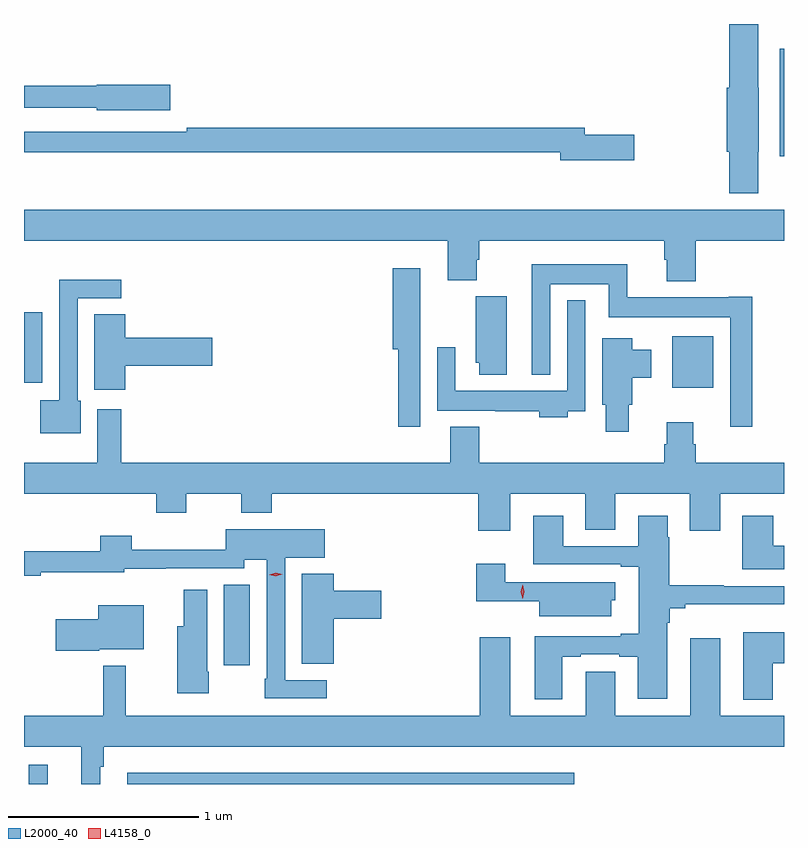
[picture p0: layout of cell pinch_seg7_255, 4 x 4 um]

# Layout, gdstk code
import gdstk
lib = gdstk.Library(unit=1e-6, precision=1e-09)
def R(c, l, rs):  # rectangles x0, y0, x1, y1
    for r in rs: c.add(gdstk.rectangle(r[:2], r[2:], *l))
def P(c, l, *ps):  # polygons
    for p in ps: c.add(gdstk.Polygon(p, *l))
L2000_40 = (2000, 40)
L4158_0 = (4158, 0)

pinch_seg7_255 = lib.new_cell('pinch_seg7_255')
R(pinch_seg7_255, L2000_40, [(802.796,1065.689,802.895,1065.79), (803.313,1065.689,805.667,1065.748), (803.822,1066.314,803.959,1066.739), (806.183,1067.774,806.398,1068.046), (802.77,1067.802,802.867,1068.172), (806.747,1068.993,806.77,1069.56)])
P(pinch_seg7_255, L2000_40, [(806.635,1069.017),(806.638,1069.017),(806.638,1069.353),(806.635,1069.353),(806.635,1069.689),(806.483,1069.689),(806.483,1069.353),(806.468,1069.353),(806.468,1069.017),(806.483,1069.017),(806.483,1068.797),(806.635,1068.797)],
  [(803.539,1069.37),(803.154,1069.37),(803.154,1069.364),(802.77,1069.364),(802.77,1069.248),(803.154,1069.248),(803.154,1069.235),(803.539,1069.235)],
  [(805.981,1069.106),(805.72,1069.106),(805.72,1069.142),(803.626,1069.142),(803.626,1069.122),(802.77,1069.122),(802.77,1069.014),(805.592,1069.014),(805.592,1068.971),(805.981,1068.971)],
  [(806.306,1068.548),(806.77,1068.548),(806.77,1068.712),(802.77,1068.712),(802.77,1068.548),(805.001,1068.548),(805.001,1068.34),(805.153,1068.34),(805.153,1068.449),(805.166,1068.449),(805.166,1068.548),(806.141,1068.548),(806.141,1068.447),(806.153,1068.447),(806.153,1068.335),(806.306,1068.335)],
  [(806.603,1068.253),(806.48,1068.253),(806.48,1068.25),(805.946,1068.25),(805.946,1068.424),(805.442,1068.424),(805.442,1067.843),(805.539,1067.843),(805.539,1068.32),(805.848,1068.32),(805.848,1068.146),(806.487,1068.146),(806.487,1067.568),(806.603,1067.568)],
  [(804.855,1068.082),(804.856,1068.082),(804.856,1068.403),(804.71,1068.403),(804.71,1067.978),(804.739,1067.978),(804.739,1067.568),(804.855,1067.568)],
  [(803.068,1067.706),(803.052,1067.706),(803.052,1068.246),(803.281,1068.246),(803.281,1068.344),(802.956,1068.344),(802.956,1067.71),(802.856,1067.71),(802.856,1067.534),(803.068,1067.534)],
  [(805.312,1068.255),(805.148,1068.255),(805.148,1067.907),(805.166,1067.907),(805.166,1067.844),(805.312,1067.844)],
  [(805.633,1067.652),(805.725,1067.652),(805.725,1068.235),(805.629,1068.235),(805.629,1067.758),(805.041,1067.758),(805.041,1067.989),(804.945,1067.989),(804.945,1067.654),(805.249,1067.654),(805.249,1067.652),(805.481,1067.652),(805.481,1067.618),(805.633,1067.618)],
  [(803.303,1067.891),(803.761,1067.891),(803.761,1068.038),(803.303,1068.038),(803.303,1068.161),(803.141,1068.161),(803.141,1067.763),(803.303,1067.763)],
  [(805.954,1067.685),(805.972,1067.685),(805.972,1067.827),(806.071,1067.827),(806.071,1067.974),(805.972,1067.974),(805.972,1068.034),(805.814,1068.034),(805.814,1067.685),(805.832,1067.685),(805.832,1067.544),(805.954,1067.544)],
  [(805.33,1067.216),(805.724,1067.216),(805.724,1067.026),(805.882,1067.026),(805.882,1067.216),(806.273,1067.216),(806.273,1067.022),(806.434,1067.022),(806.434,1067.216),(806.77,1067.216),(806.77,1067.38),(806.306,1067.38),(806.306,1067.478),(806.293,1067.478),(806.293,1067.593),(806.153,1067.593),(806.153,1067.478),(806.141,1067.478),(806.141,1067.38),(805.166,1067.38),(805.166,1067.569),(805.013,1067.569),(805.013,1067.38),(803.282,1067.38),(803.282,1067.662),(803.156,1067.662),(803.156,1067.38),(802.77,1067.38),(802.77,1067.216),(803.465,1067.216),(803.465,1067.117),(803.625,1067.117),(803.625,1067.216),(803.914,1067.216),(803.914,1067.117),(804.074,1067.117),(804.074,1067.216),(805.16,1067.216),(805.16,1067.022),(805.33,1067.022)],
  [(805.603,1066.359),(805.699,1066.359),(805.699,1066.371),(805.904,1066.371),(805.904,1066.359),(806,1066.359),(806,1066.137),(806.155,1066.137),(806.155,1066.538),(806.168,1066.538),(806.168,1066.615),(806.251,1066.615),(806.251,1066.634),(806.77,1066.634),(806.77,1066.731),(806.453,1066.731),(806.453,1066.736),(806.166,1066.736),(806.166,1066.988),(806.158,1066.988),(806.158,1067.101),(806.003,1067.101),(806.003,1066.941),(805.609,1066.941),(805.609,1067.101),(805.451,1067.101),(805.451,1066.845),(805.91,1066.845),(805.91,1066.833),(806.006,1066.833),(806.006,1066.48),(805.91,1066.48),(805.91,1066.467),(805.457,1066.467),(805.457,1066.134),(805.603,1066.134)],
  [(806.77,1066.942),(806.713,1066.942),(806.713,1067.101),(806.549,1067.101),(806.549,1066.82),(806.77,1066.82)],
  [(804.364,1066.236),(804.144,1066.236),(804.144,1066.88),(804.352,1066.88),(804.352,1067.029),(803.832,1067.029),(803.832,1066.922),(803.336,1066.922),(803.336,1066.996),(803.171,1066.996),(803.171,1066.915),(802.77,1066.915),(802.77,1066.786),(802.857,1066.786),(802.857,1066.804),(803.298,1066.804),(803.298,1066.823),(803.516,1066.823),(803.516,1066.824),(803.928,1066.824),(803.928,1066.868),(804.048,1066.868),(804.048,1066.243),(804.036,1066.243),(804.036,1066.14),(804.364,1066.14)],
  [(805.861,1066.656),(805.882,1066.656),(805.882,1066.75),(805.303,1066.75),(805.303,1066.849),(805.151,1066.849),(805.151,1066.652),(805.481,1066.652),(805.481,1066.571),(805.861,1066.571)],
  [(804.4,1066.559),(804.649,1066.559),(804.649,1066.706),(804.4,1066.706),(804.4,1066.795),(804.233,1066.795),(804.233,1066.321),(804.4,1066.321)],
  [(803.742,1066.279),(803.734,1066.279),(803.734,1066.711),(803.612,1066.711),(803.612,1066.519),(803.576,1066.519),(803.576,1066.167),(803.742,1066.167)],
  [(803.166,1066.397),(803.401,1066.397),(803.401,1066.63),(803.162,1066.63),(803.162,1066.555),(802.938,1066.555),(802.938,1066.39),(803.166,1066.39)],
  [(806.71,1066.325),(806.77,1066.325),(806.77,1066.489),(806.555,1066.489),(806.555,1066.133),(806.71,1066.133)],
  [(803.17,1065.779),(803.189,1065.779),(803.189,1065.884),(806.77,1065.884),(806.77,1066.048),(806.434,1066.048),(806.434,1066.456),(806.276,1066.456),(806.276,1066.048),(805.882,1066.048),(805.882,1066.279),(805.727,1066.279),(805.727,1066.048),(805.33,1066.048),(805.33,1066.462),(805.169,1066.462),(805.169,1066.048),(803.306,1066.048),(803.306,1066.312),(803.186,1066.312),(803.186,1066.048),(802.77,1066.048),(802.77,1065.884),(803.072,1065.884),(803.072,1065.689),(803.17,1065.689)])
P(pinch_seg7_255, L4158_0, [(805.394,1066.665),(805.394,1066.665),(805.384,1066.701),(805.394,1066.737),(805.394,1066.737),(805.395,1066.737),(805.404,1066.701),(805.395,1066.665)],
  [(804.096,1066.782),(804.061,1066.791),(804.061,1066.791),(804.061,1066.791),(804.095,1066.802),(804.13,1066.793),(804.13,1066.793),(804.13,1066.793)])

lib.write_gds('pinch_seg7_255.gds')
